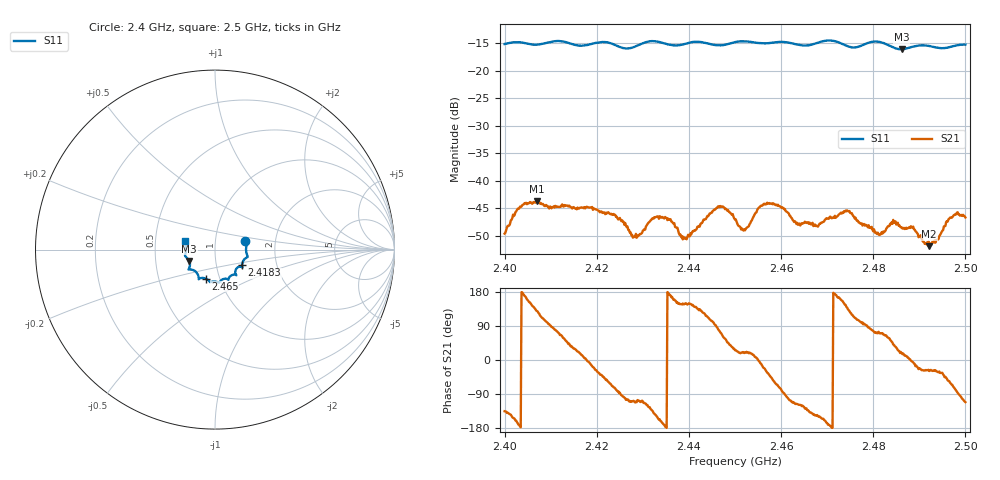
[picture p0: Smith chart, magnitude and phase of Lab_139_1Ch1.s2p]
# Hz S RI R 50
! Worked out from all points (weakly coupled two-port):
!   601 points, 2.4 GHz to 2.5 GHz, reference 50 ohm
!   highest |S21| = -43.70 dB at 2.407 GHz (marker M1); lowest = -51.9 dB at 2.4922 GHz (marker M2)
!   lowest |S11| = -16.1 dB at 2.4862 GHz (marker M3), VSWR 1.37, Z = 37.2 - j4.85 ohm
!   |S11| at or under -10 dB: start of sweep to end of sweep
!   S12 and S22 are empty: the file has one direction only
!   S11 on the Smith chart (normalised r, x): 2.4 GHz: 1.40, +0.14; 2.4183 GHz: 1.33, -0.24; 2.465 GHz: 0.86, -0.28; 2.5 GHz: 0.71, +0.07
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2.4e9  0.1689 0.0471  -0.00234 -0.00232  0 0  0 0
2.403e9  0.1791 0.0334  -0.00545 -0.000936  0 0  0 0
2.407e9  0.1728 -0.00318  -0.00413 0.00506  0 0  0 0
2.416667e9  0.1546 -0.0683  0.00557 0.00132  0 0  0 0
2.418333e9  0.15 -0.0869  0.00565 -0.000578  0 0  0 0
2.423833e9  0.1442 -0.0956  0.00144 -0.00469  0 0  0 0
2.428333e9  0.1131 -0.122  -0.00116 -0.00284  0 0  0 0
2.433333e9  0.1176 -0.141  -0.00426 -0.00201  0 0  0 0
2.439167e9  0.0777 -0.1578  -0.00255 0.00153  0 0  0 0
2.446333e9  0.0506 -0.163  0.000879 0.00578  0 0  0 0
2.45e9  0.0263 -0.1804  0.00399 0.00193  0 0  0 0
2.452167e9  0.0213 -0.1842  0.00333 0.0012  0 0  0 0
2.4575e9  -0.0138 -0.1784  0.00474 -0.00409  0 0  0 0
2.465e9  -0.0524 -0.1614  -0.00233 -0.00342  0 0  0 0
2.466667e9  -0.0713 -0.1577  -0.00314 -0.00257  0 0  0 0
2.474333e9  -0.0961 -0.1376  -0.00402 0.00356  0 0  0 0
2.481167e9  -0.1473 -0.1099  0.000867 0.00312  0 0  0 0
2.483333e9  -0.1411 -0.0964  0.00204 0.00328  0 0  0 0
2.486167e9  -0.1435 -0.0636  0.00358 0.00117  0 0  0 0
2.492167e9  -0.1659 -0.0275  0.00222 -0.00124  0 0  0 0
2.497833e9  -0.1658 0.0344  0.00105 -0.00486  0 0  0 0
2.5e9  -0.1664 0.0469  -0.00167 -0.00432  0 0  0 0
